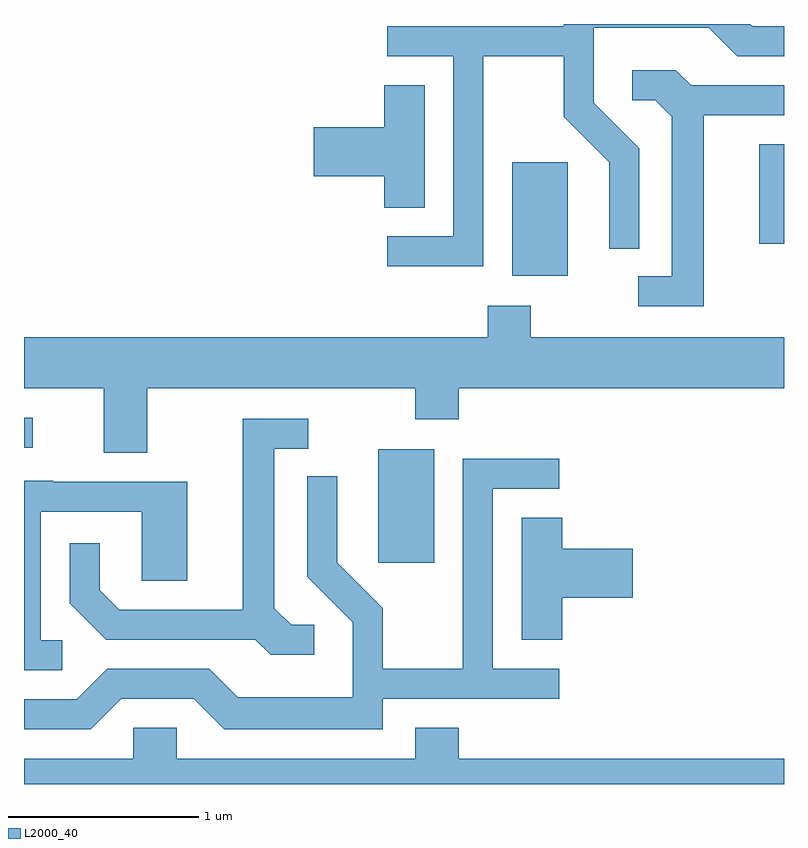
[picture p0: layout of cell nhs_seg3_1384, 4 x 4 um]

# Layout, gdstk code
import gdstk
lib = gdstk.Library(unit=1e-6, precision=1e-09)
def R(c, l, rs):  # rectangles x0, y0, x1, y1
    for r in rs: c.add(gdstk.rectangle(r[:2], r[2:], *l))
def P(c, l, *ps):  # polygons
    for p in ps: c.add(gdstk.Polygon(p, *l))
L2000_40 = (2000, 40)

nhs_seg3_1384 = lib.new_cell('nhs_seg3_1384')
R(nhs_seg3_1384, L2000_40, [(227.476,1165.056,227.769,1165.654), (225.611,1165.661,225.658,1165.819), (228.181,1166.566,228.474,1167.164), (229.481,1166.736,229.611,1167.259)])
P(nhs_seg3_1384, L2000_40, [(228.029,1167.721),(228.451,1167.721),(228.451,1167.404),(228.691,1167.164),(228.691,1166.708),(228.849,1166.708),(228.849,1167.237),(228.609,1167.477),(228.609,1167.871),(229.214,1167.871),(229.364,1167.721),(229.611,1167.721),(229.611,1167.879),(229.447,1167.879),(229.434,1167.892),(228.451,1167.892),(228.451,1167.879),(227.523,1167.879),(227.523,1167.721),(227.871,1167.721),(227.871,1166.774),(227.523,1166.774),(227.523,1166.616),(228.029,1166.616)],
  [(229.189,1167.411),(229.611,1167.411),(229.611,1167.569),(229.122,1167.569),(229.042,1167.649),(228.813,1167.649),(228.813,1167.491),(228.934,1167.491),(229.021,1167.404),(229.021,1166.564),(228.843,1166.564),(228.843,1166.406),(229.189,1166.406)],
  [(227.719,1167.569),(227.506,1167.569),(227.506,1167.349),(227.136,1167.349),(227.136,1167.091),(227.506,1167.091),(227.506,1166.926),(227.719,1166.926)],
  [(226.259,1165.976),(227.671,1165.976),(227.671,1165.811),(227.899,1165.811),(227.899,1165.976),(229.611,1165.976),(229.611,1166.244),(228.279,1166.244),(228.279,1166.409),(228.051,1166.409),(228.051,1166.244),(225.611,1166.244),(225.611,1165.976),(226.031,1165.976),(226.031,1165.636),(226.259,1165.636)],
  [(227.138,1164.729),(227.017,1164.729),(226.929,1164.817),(226.929,1165.656),(227.108,1165.656),(227.108,1165.814),(226.761,1165.814),(226.761,1164.809),(226.112,1164.809),(226.009,1164.912),(226.009,1165.158),(225.851,1165.158),(225.851,1164.844),(226.044,1164.651),(226.829,1164.651),(226.909,1164.571),(227.138,1164.571)],
  [(226.122,1164.341),(226.504,1164.341),(226.664,1164.181),(227.499,1164.181),(227.499,1164.341),(228.428,1164.341),(228.428,1164.499),(228.079,1164.499),(228.079,1165.446),(228.428,1165.446),(228.428,1165.604),(227.921,1165.604),(227.921,1164.499),(227.499,1164.499),(227.499,1164.817),(227.259,1165.057),(227.259,1165.513),(227.101,1165.513),(227.101,1164.984),(227.341,1164.744),(227.341,1164.349),(226.737,1164.349),(226.587,1164.499),(226.049,1164.499),(225.889,1164.339),(225.611,1164.339),(225.611,1164.181),(225.962,1164.181)],
  [(225.813,1164.649),(225.699,1164.649),(225.699,1165.326),(226.231,1165.326),(226.231,1164.961),(226.469,1164.961),(226.469,1165.484),(225.765,1165.484),(225.765,1165.489),(225.611,1165.489),(225.611,1164.491),(225.813,1164.491)],
  [(228.444,1164.871),(228.814,1164.871),(228.814,1165.129),(228.444,1165.129),(228.444,1165.294),(228.231,1165.294),(228.231,1164.651),(228.444,1164.651)],
  [(229.611,1164.024),(227.899,1164.024),(227.899,1164.189),(227.671,1164.189),(227.671,1164.024),(226.414,1164.024),(226.414,1164.189),(226.186,1164.189),(226.186,1164.024),(225.611,1164.024),(225.611,1163.892),(229.611,1163.892)])

lib.write_gds('nhs_seg3_1384.gds')
